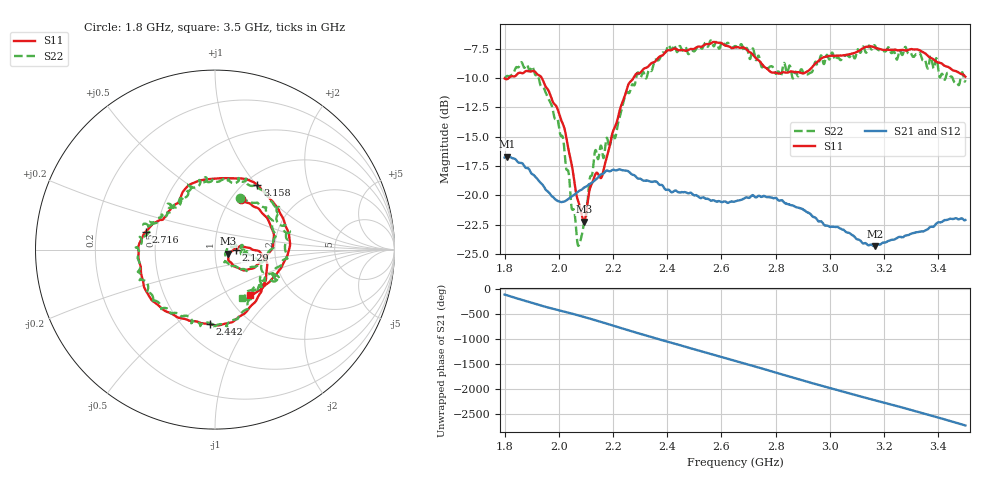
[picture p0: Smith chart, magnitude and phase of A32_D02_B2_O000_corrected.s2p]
! Created with skrf 1.9.0 (http://scikit-rf.org).
# Hz S RI R 50.0
!freq ReS11 ImS11 ReS21 ImS21 ReS12 ImS12 ReS22 ImS22
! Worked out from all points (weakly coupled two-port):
!   1601 points, 1.8 GHz to 3.5 GHz, reference 50 ohm
!   highest |S21| = -16.71 dB at 1.81 GHz (marker M1); lowest = -24.3 dB at 3.165 GHz (marker M2)
!   lowest |S11| = -22.3 dB at 2.093 GHz (marker M3), VSWR 1.17, Z = 57.9 - j2.66 ohm
!   |S11| at or under -10 dB: start of sweep to 1.815 GHz; 1.938 GHz to 2.275 GHz (337.3 MHz wide, 16 % of centre)
!   |S22| runs from -24.3 to -6.8 dB; largest |S21 - S12| = 0.0025
!   S11 on the Smith chart (normalised r, x): 1.8 GHz: 1.12, +0.69; 2.129 GHz: 1.27, -0.00; 2.442 GHz: 0.67, -0.67; 2.716 GHz: 0.44, +0.10; 3.158 GHz: 1.14, +1.01; 3.5 GHz: 1.27, -0.71
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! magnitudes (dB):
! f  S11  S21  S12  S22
! 1.8 GHz  -10.0  -16.8  -16.8  -10.0
! 1.81 GHz  -10.1  -16.7  -16.7  -9.8
! 1.864 GHz  -9.6  -17.3  -17.3  -8.7
! 1.951 GHz  -10.7  -19.5  -19.5  -11.2
! 2.019 GHz  -14.1  -20.5  -20.6  -15.7
! 2.07 GHz  -20.4  -19.7  -19.7  -24.2
! 2.084 GHz  -21.6  -19.5  -19.5  -23.5
! 2.093 GHz  -22.3  -19.3  -19.4  -22.3
! 2.129 GHz  -18.6  -18.8  -18.8  -17.0
! 2.161 GHz  -18.2  -18.2  -18.1  -16.4
! 2.209 GHz  -14.0  -17.9  -17.8  -15.0
! 2.259 GHz  -10.4  -18.0  -18.0  -11.3
! 2.367 GHz  -8.3  -19.0  -19.0  -8.5
! 2.442 GHz  -7.6  -19.7  -19.8  -7.5
! 2.65 GHz  -7.4  -20.5  -20.5  -7.3
! 2.716 GHz  -8.0  -20.0  -20.0  -7.5
! 2.788 GHz  -9.5  -20.2  -20.2  -9.0
! 2.934 GHz  -9.1  -21.8  -21.7  -9.5
! 3.158 GHz  -7.3  -24.3  -24.2  -7.4
! 3.165 GHz  -7.4  -24.3  -24.3  -7.2
! 3.217 GHz  -7.6  -23.9  -23.8  -7.4
! 3.5 GHz  -9.9  -22.1  -22.1  -10.2
